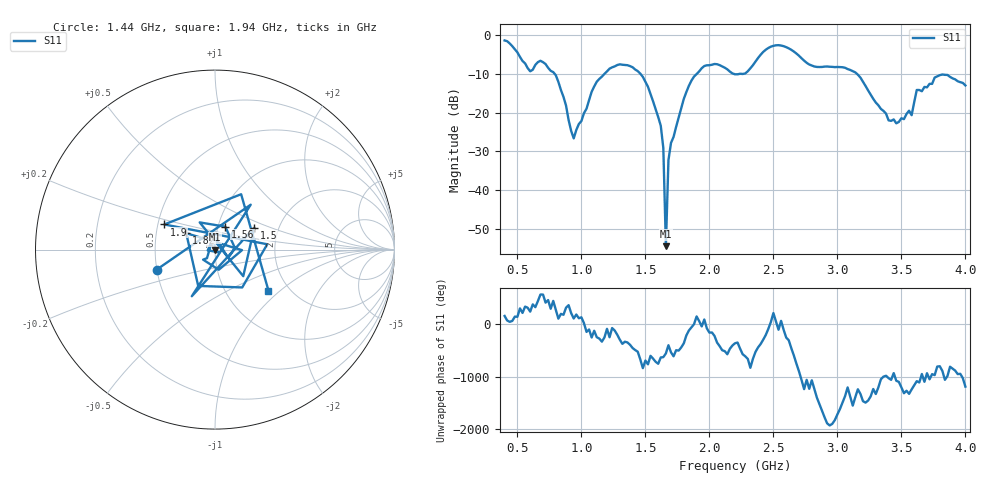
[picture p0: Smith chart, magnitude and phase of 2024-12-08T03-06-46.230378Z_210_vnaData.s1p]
!Created with skrf (http://scikit-rf.org).
# Hz S RI R 50.0
!freq ReS11 ImS11
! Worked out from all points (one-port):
!   181 points, 400 MHz to 4 GHz, reference 50 ohm
!   lowest |S11| = -54.5 dB at 1.66 GHz (marker M1), VSWR 1.00, Z = 49.8 + j0.0462 ohm
!   |S11| at or under -10 dB: 791.8 MHz to 1.179 GHz (387.6 MHz wide, 39.3 % of centre); 1.462 GHz to 1.901 GHz (438.6 MHz wide, 26.1 % of centre); 3.154 GHz to end of sweep (the widest 3 of 5)
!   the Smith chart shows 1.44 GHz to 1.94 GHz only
!   S11 on the Smith chart (normalised r, x): 1.44 GHz: 0.50, -0.13; 1.5 GHz: 1.50, +0.39; 1.56 GHz: 1.08, +0.28; 1.82 GHz: 0.71, +0.13; 1.9 GHz: 0.54, +0.17; 1.94 GHz: 1.58, -0.84
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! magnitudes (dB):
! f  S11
! 400 MHz  -1.3
! 600 MHz  -9.3
! 720 MHz  -7.4
! 860 MHz  -15.9
! 940 MHz  -26.6
! 1.12 GHz  -12.0
! 1.3 GHz  -7.5
! 1.44 GHz  -9.3
! 1.5 GHz  -12.0
! 1.56 GHz  -17.1
! 1.62 GHz  -23.4
! 1.64 GHz  -29.1
! 1.66 GHz  -54.5
! 1.68 GHz  -32.3
! 1.76 GHz  -21.2
! 1.82 GHz  -14.7
! 1.9 GHz  -10.0
! 1.94 GHz  -8.5
! 2.2 GHz  -10.1
! 2.48 GHz  -2.9
! 2.66 GHz  -4.2
! 3.1 GHz  -9.0
! 3.4 GHz  -22.0
! 3.56 GHz  -19.5
! 3.58 GHz  -20.7
! 3.62 GHz  -14.1
! 3.8 GHz  -10.3
! 4 GHz  -13.0
